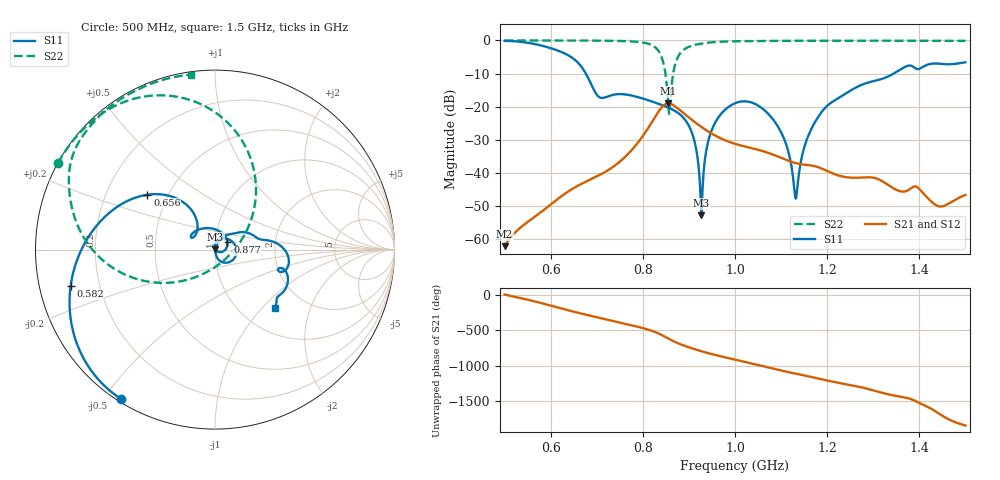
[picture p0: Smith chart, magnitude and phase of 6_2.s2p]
! TOUCHSTONE file generated by CST MICROWAVE STUDIO
! Date and time: Wed Oct 28 19:34:14 2020
! Project name: Scenario_1_Circular_Tissue_out_of_Line_v2.cst
! Parameters = {dy1=-259.5; L_HA=400; MT=2.54; Rad_Dielectric=30; Rad_Lower=7.3; Rad_Upper=30; a_HA=580; a_WG=246; b_HA=500; b_WG=121; c_HA=0; c_WG=187; d_feed=85; dx1=346; h_feed=15; h_lower=18; h_upper=40}
! Header version: 2018
! Port assignment regex: !\s*Touchstone port\s*([0-9]+)\s*=\s*(CST MWS port|CST DS port)\s*([0-9]+|Zmin|Zmax)\s*\(\"(.*)\"\)(\s*mode\s*([0-9]+))?.*
! Touchstone port assignment:
! Touchstone port 1 = CST MWS port 1 ("")
! Touchstone port 2 = CST MWS port 2 ("")
# GHz S DB R 50
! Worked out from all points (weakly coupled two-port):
!   1003 points, 500 MHz to 1.5 GHz, reference 50 ohm
!   highest |S21| = -18.99 dB at 855 MHz (marker M1); lowest = -62.0 dB at 500 MHz (marker M2)
!   lowest |S11| = -52.7 dB at 927 MHz (marker M3), VSWR 1.00, Z = 50.2 + j0.12 ohm
!   |S11| at or under -10 dB: 676.3 MHz to 1.344 GHz (667.8 MHz wide, 66.1 % of centre)
!   |S22| runs from -22.2 to 0.0 dB; largest |S21 - S12| = 1.3e-05
!   S11 on the Smith chart (normalised r, x): 500 MHz: 0.01, -0.55; 582 MHz: 0.09, -0.12; 656 MHz: 0.38, +0.31; 877 MHz: 1.14, +0.09; 1.5 GHz: 1.43, -1.19
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0.5  -0.15 -122.3  -62.05 2.9  -62.05 2.9  -0.01 151.1
0.582  -1.62 -165.8  -51.45 -121.6  -51.45 -121.6  -0.02 145.5
0.656  -6.28 141.0  -44.05 111.2  -44.05 111.2  -0.04 139.4
0.667  -8.00 130.9  -43.24 93.5  -43.24 93.5  -0.04 138.3
0.707  -17.22 139.4  -40.52 31.8  -40.52 31.8  -0.07 134.0
0.789  -17.08 124.7  -30.87 -92.0  -30.87 -92.0  -0.44 117.3
0.834  -19.11 85.5  -21.48 173.9  -21.48 173.9  -3.18 82.5
0.845  -19.69 73.4  -19.62 138.4  -19.62 138.4  -7.04 59.4
0.855  -20.26 61.3  -18.99 103.0  -18.99 103.0  -18.84 3.5
0.877  -21.92 30.5  -20.63 34.2  -20.63 34.2  -4.77 -169.8
0.909  -28.90 -22.8  -24.23 -40.6  -24.23 -40.6  -1.49 162.2
0.927  -52.73 31.0  -26.07 -76.6  -26.07 -76.6  -0.96 155.4
0.95  -26.87 80.2  -28.13 -117.8  -28.13 -117.9  -0.56 149.2
1  -18.95 14.7  -31.18 164.6  -31.18 164.6  -0.26 140.2
1.087  -24.66 -71.0  -34.67 30.2  -34.67 30.2  -0.13 130.9
1.113  -32.21 -79.7  -36.13 -8.4  -36.13 -8.4  -0.11 128.6
1.132  -47.72 -5.2  -37.00 -34.0  -37.00 -34.0  -0.10 127.0
1.167  -26.34 65.5  -37.76 -81.8  -37.76 -81.8  -0.10 124.1
1.211  -18.54 46.1  -40.05 -144.7  -40.06 -144.7  -0.09 120.8
1.334  -10.75 10.5  -43.73 33.2  -43.73 33.2  -0.08 111.5
1.444  -7.02 -32.7  -50.07 117.5  -50.07 117.5  -0.11 102.7
1.5  -6.60 -44.0  -46.62 -43.7  -46.62 -43.7  -0.13 97.9
